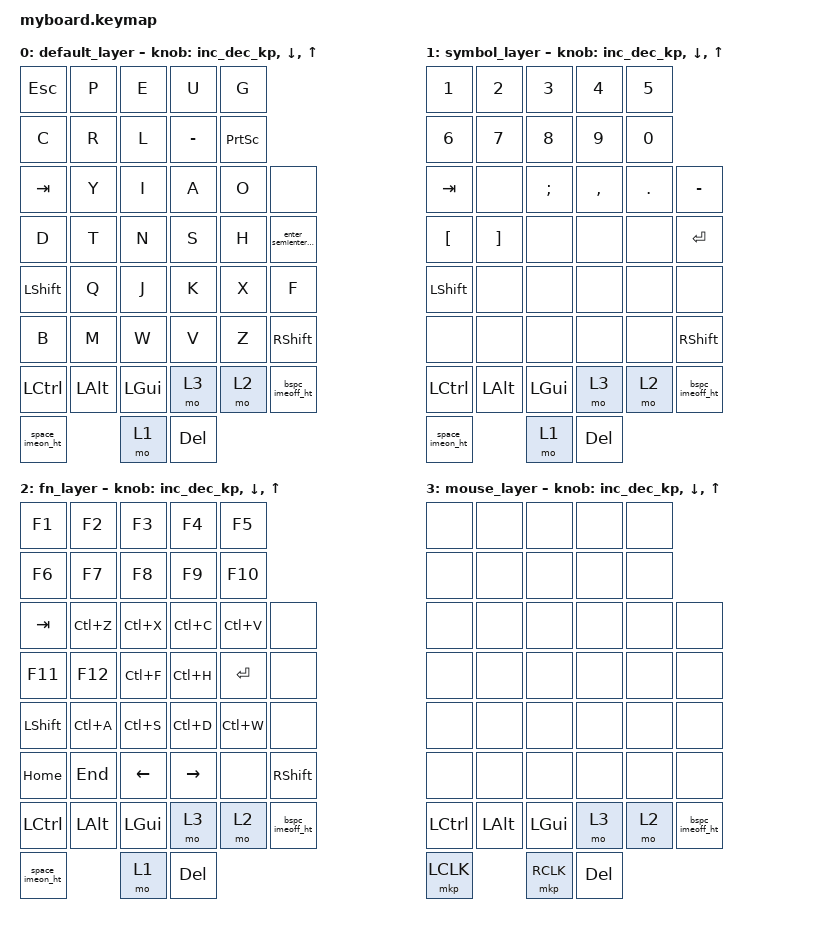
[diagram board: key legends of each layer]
// myboard.keymap
// ざっくり 5 行 × 12 列 = 60 キー分のスケルトン
// XXX は未使用キー（&none）のエイリアス

#define XXX &none

/ {
    // ---------- マクロ定義 ----------
    macros {
        // ; + Enter を送るマクロ
        semicolon_enter: semicolon_enter {
            compatible = "zmk,behavior-macro";
            #binding-cells = <0>;
            bindings = <
                &kp SEMI    // ;
                &kp ENTER   // Enter
            >;
        };
    };

    // ---------- 振る舞い定義 ----------
    behaviors {

        bspc_imeoff_ht: bspc_imeoff_ht {
            compatible = "zmk,behavior-hold-tap";
            label = "BSPC_IMEOFF_HT";
            #binding-cells = <0>;

            flavor = "tap-preferred";
            tapping-term-ms = <200>;

            // hold: IME OFF / tap: Backspace
            bindings = <&kp IME_OFF>, <&kp BSPC>;
        };

        space_imeon_ht: space_imeon_ht {
            compatible = "zmk,behavior-hold-tap";
            label = "SPACE_IMEON_HT";
            #binding-cells = <0>;

            flavor = "tap-preferred";
            tapping-term-ms = <200>;

            // hold: IME ON / tap: Space
            bindings = <&kp IME_ON>, <&kp SPACE>;
        };

        enter_semienter_ht: enter_semienter_ht {
            compatible = "zmk,behavior-hold-tap";
            label = "ENTER_SEMIENTER_HT";
            #binding-cells = <0>;

            flavor = "tap-preferred";
            tapping-term-ms = <200>;

            // hold: ; + Enter（既存マクロ） / tap: Enter
            bindings = <&semicolon_enter>, <&kp ENTER>;
        };


    };

    // ---------- レイヤ定義 ----------
    keymap {
      compatible = "zmk,keymap";

        // ==============================
        // LAYER 0: ベースレイヤ
        // KLE の 0〜4 行 に相当
        // ==============================
        default_layer {
        // 43 keys: 10 + 12 + 12 + 9
            bindings = <
                // Row 0 (10): 5L + 5R
                &kp ESC   &kp P     &kp E     &kp U     &kp G
                &kp C     &kp R     &kp L     &kp MINUS &kp PSCRN
                // Row 1 (12): 6L + 6R
                &kp TAB   &kp Y     &kp I     &kp A     &kp O     XXX
                &kp D     &kp T     &kp N     &kp S     &kp H     &enter_semienter_ht
                // Row 2 (12): 6L + 6R
                &kp LSHFT &kp Q     &kp J     &kp K     &kp X     &kp F
                &kp B     &kp M     &kp W     &kp V     &kp Z     &kp RSHFT
                // Row 3 (9): 6L + 3R  ← 親指はここに入ります（60配列の row4 は存在しません）
                // 左手下段(6) = Ctrl/Alt/Win + 親指3つ（あなたの希望通り）
                &kp LCTRL &kp LALT  &kp LGUI  &mo 3     &mo 2     &bspc_imeoff_ht
                // 右手下段(3) = Space/IMEON + layer1 + Del
                &space_imeon_ht     &mo 1     &kp DEL
            >;
    
            // エンコーダ（Fの上の“スクロールバー”がこれなら、ここで割り当てないと動きません）
            // まずは無難に「上/下キー」にして挙動確認するのが安全です
            sensor-bindings = <&inc_dec_kp &kp DOWN &kp UP>;
        };

        // ==============================
        // LAYER 1: 記号／数字レイヤ
        // KLE の 5〜9 行 相当
        // ==============================
        symbol_layer {
            bindings = <
                // Row 0 (10)
                &kp N1 &kp N2 &kp N3 &kp N4 &kp N5
                &kp N6 &kp N7 &kp N8 &kp N9 &kp N0
                // Row 1 (12)
                &kp TAB XXX &kp SEMI &kp COMMA &kp DOT &kp MINUS
                &kp LBKT &kp RBKT XXX XXX XXX &kp ENTER
                // Row 2 (12)
                &kp LSHFT XXX XXX XXX XXX XXX
                XXX XXX XXX XXX XXX &kp RSHFT
                // Row 3 (9) ※親指/下段はベースと同じにしておく
              &kp LCTRL &kp LALT &kp LGUI &mo 3 &mo 2 &bspc_imeoff_ht
              &space_imeon_ht &mo 1 &kp DEL
            >;
    
            sensor-bindings = <&inc_dec_kp &kp DOWN &kp UP>;
        };

        // ==============================
        // LAYER 2: Fn / ショートカットレイヤ
        // KLE の 10〜14 行 相当
        // ==============================
        fn_layer {
            bindings = <
                // Row 0 (10)
                &kp F1 &kp F2 &kp F3 &kp F4 &kp F5
                &kp F6 &kp F7 &kp F8 &kp F9 &kp F10
                // Row 1 (12)
                &kp TAB &kp LC(Z) &kp LC(X) &kp LC(C) &kp LC(V) XXX
                &kp F11 &kp F12 &kp LC(F) &kp LC(H) &kp ENTER XXX
                // Row 2 (12)
                &kp LSHFT &kp LC(A) &kp LC(S) &kp LC(D) &kp LC(W) XXX
                &kp HOME &kp END &kp LEFT &kp RIGHT XXX &kp RSHFT
                // Row 3 (9)
                &kp LCTRL &kp LALT &kp LGUI &mo 3 &mo 2 &bspc_imeoff_ht
                &space_imeon_ht &mo 1 &kp DEL
            >;

            sensor-bindings = <&inc_dec_kp &kp DOWN &kp UP>;
        };

        // ==============================
        // LAYER 3: 予備　左右クリックなど
        // ==============================
        mouse_layer {
            bindings = <
                // Row 0 (10)
                XXX XXX XXX XXX XXX
                XXX XXX XXX XXX XXX
    
                // Row 1 (12)
                XXX XXX XXX XXX XXX XXX
                XXX XXX XXX XXX XXX XXX
    
                // Row 2 (12)
                XXX XXX XXX XXX XXX XXX
                XXX XXX XXX XXX XXX XXX
    
                // Row 3 (9): 右クリック/左クリックを置く例（右手側に2つ）
                &kp LCTRL &kp LALT &kp LGUI &mo 3 &mo 2 &bspc_imeoff_ht
                &mkp LCLK &mkp RCLK &kp DEL
            >;

            // エンコーダをスクロールにしたいなら、まずここを “マウススクロール” に変更するのが理想だけど、
            // 環境によって挙動が変わるので最初は UP/DOWN でOK
            sensor-bindings = <&inc_dec_kp &kp DOWN &kp UP>;
        };
    };
};
